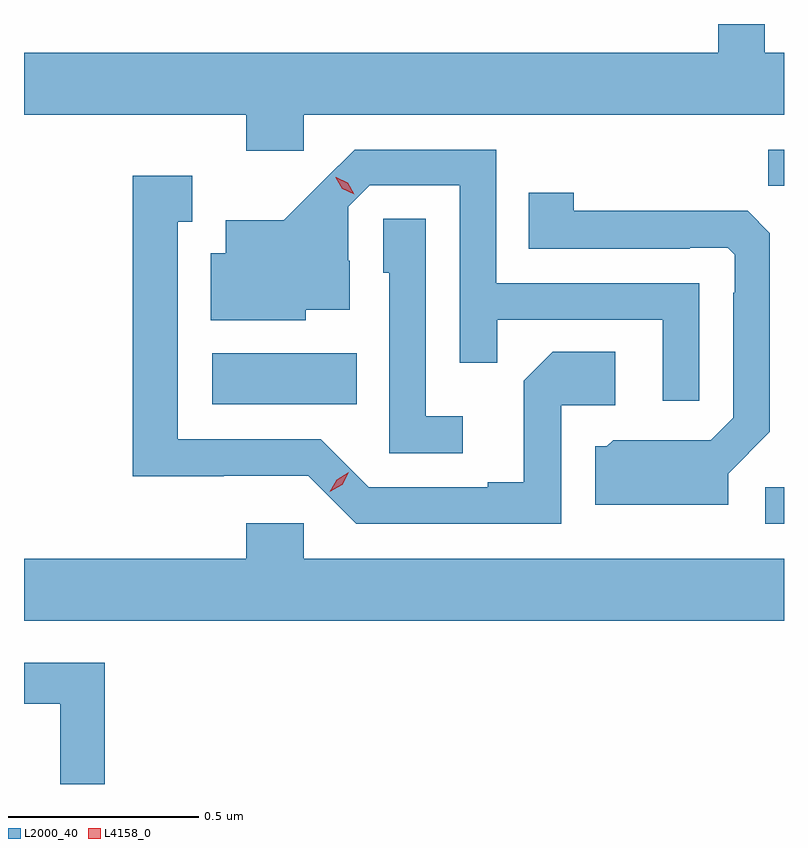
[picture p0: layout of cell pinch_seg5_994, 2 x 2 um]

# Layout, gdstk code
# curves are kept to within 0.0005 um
import gdstk
lib = gdstk.Library(unit=1e-6, precision=1e-09)
def R(c, l, rs):  # rectangles x0, y0, x1, y1
    for r in rs: c.add(gdstk.rectangle(r[:2], r[2:], *l))
def P(c, l, *ps):  # polygons
    for p in ps: c.add(gdstk.Polygon(p, *l))
L2000_40 = (2000, 40)
L4158_0 = (4158, 0)

pinch_seg5_994 = lib.new_cell('pinch_seg5_994')
R(pinch_seg5_994, L2000_40, [(721.137,883.656,721.186,883.752), (719.682,883.97,720.062,884.104), (721.144,884.545,721.186,884.64)])
P(pinch_seg5_994, L2000_40, [(719.922,884.732),(721.186,884.732),(721.186,884.896),(721.135,884.896),(721.135,884.971),(721.013,884.971),(721.013,884.896),(719.186,884.896),(719.186,884.732),(719.771,884.732),(719.771,884.637),(719.922,884.637)],
  [(720.963,884.289),(720.429,884.289),(720.429,884.64),(720.056,884.64),(719.869,884.455),(719.717,884.455),(719.717,884.368),(719.678,884.368),(719.678,884.192),(719.928,884.192),(719.928,884.219),(720.043,884.219),(720.043,884.348),(720.039,884.348),(720.039,884.49),(720.096,884.547),(720.333,884.547),(720.333,884.08),(720.431,884.08),(720.431,884.193),(720.867,884.193),(720.867,883.98),(720.963,883.98)],
  [(720.6,883.968),(720.742,883.968),(720.742,884.108),(720.577,884.108),(720.501,884.032),(720.501,883.765),(720.407,883.765),(720.407,883.752),(720.093,883.752),(719.967,883.878),(719.59,883.878),(719.59,884.451),(719.629,884.451),(719.629,884.572),(719.472,884.572),(719.472,883.781),(719.712,883.781),(719.712,883.782),(719.934,883.782),(720.06,883.656),(720.6,883.656)],
  [(721.039,883.788),(721.149,883.898),(721.149,884.42),(721.09,884.479),(720.989,884.479),(720.989,884.48),(720.633,884.48),(720.633,884.527),(720.514,884.527),(720.514,884.379),(720.938,884.379),(720.938,884.382),(721.038,884.382),(721.056,884.364),(721.056,884.264),(721.053,884.264),(721.053,883.935),(720.993,883.875),(720.87,883.875),(720.87,883.876),(720.736,883.876),(720.72,883.86),(720.689,883.86),(720.689,883.706),(721.039,883.706)],
  [(720.34,883.939),(720.243,883.939),(720.243,884.459),(720.132,884.459),(720.132,884.316),(720.147,884.316),(720.147,883.842),(720.34,883.842)],
  [(721.186,883.564),(719.922,883.564),(719.922,883.657),(719.771,883.657),(719.771,883.564),(719.186,883.564),(719.186,883.4),(721.186,883.4)],
  [(719.399,883.29),(719.186,883.29),(719.186,883.182),(719.282,883.182),(719.282,882.971),(719.399,882.971)])
P(pinch_seg5_994, L4158_0, [(720.055,884.523),(720.024,884.538),(720.007,884.567),(720.007,884.568),(720.008,884.568),(720.038,884.553),(720.055,884.523),(720.055,884.523)],
  [(719.991,883.74),(719.991,883.74),(720.009,883.772),(720.04,883.791),(720.041,883.791),(720.041,883.791),(720.023,883.758),(719.991,883.74)])

lib.write_gds('pinch_seg5_994.gds')
